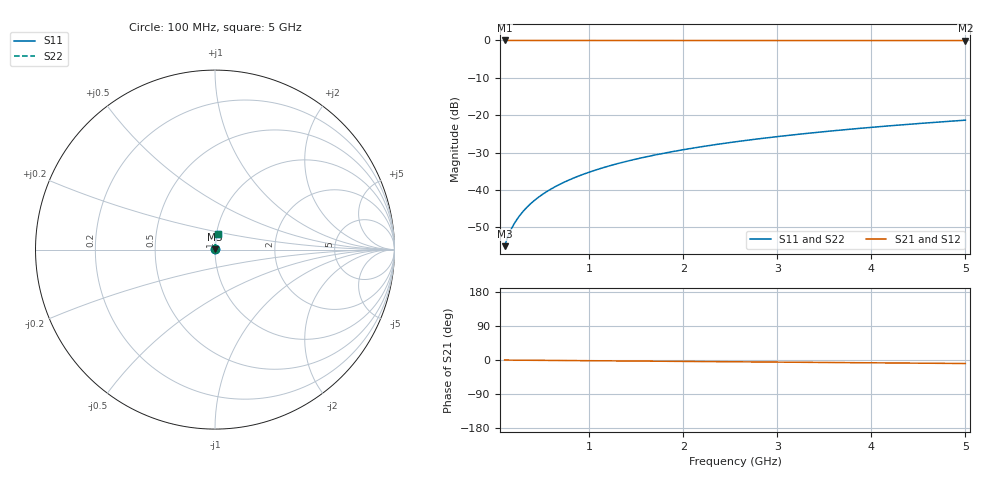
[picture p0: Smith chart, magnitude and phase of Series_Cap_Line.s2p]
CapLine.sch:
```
<Qucs Schematic 24.2.1>
<Properties>
  <View=273,26,718,272,3.49663,0,0>
  <Grid=10,10,1>
  <DataSet=CapLine.dat>
  <DataDisplay=CapLine.dpl>
  <OpenDisplay=0>
  <Script=L1.m>
  <RunScript=0>
  <showFrame=0>
  <FrameText0=Title>
  <FrameText1=Drawn By:>
  <FrameText2=Date:>
  <FrameText3=Revision:>
</Properties>
<Symbol>
  <Line -20 -20 10 0 #000080 2 1>
  <.PortSym -20 -20 1 0>
  <Rectangle -10 -30 20 20 #000000 1 1 #ffaa00 1 1>
  <.ID -10 -66 Line>
  <.PortSym 20 -20 2 180>
  <Line 10 -20 10 0 #000080 2 1>
</Symbol>
<Components>
  <Port P1 1 340 150 -23 12 0 0 "1" 1 "analog" 0 "v" 0 "" 0>
  <Port P2 1 540 150 4 -48 0 2 "2" 1 "analog" 0 "v" 0 "" 0>
  <GND * 1 430 180 0 0 0 0>
  <SPfile X1 1 430 150 -26 -56 0 0 "./EM/Refinement/Series_Cap_Line.s2p" 1 "rectangular" 0 "linear" 0 "open" 0 "2" 0>
</Components>
<Wires>
  <460 150 540 150 "" 0 0 0 "">
  <340 150 400 150 "" 0 0 0 "">
</Wires>
<Diagrams>
</Diagrams>
<Paintings>
</Paintings>
```
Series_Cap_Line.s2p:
! Sonnet Data File
! From: sonnet Version : 18.53-Lite
! From Emgraph Data:
! Data File Written: 04/08/2024 17:23:37
!< HDATE 04/08/2024 17:23:19
!< MDATE 04/08/2024 17:23:19
# GHZ S MA R 50.00000
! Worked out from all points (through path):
!   246 points, 100 MHz to 5 GHz, reference 50 ohm
!   highest |S21| = 0.00 dB at 100 MHz (marker M1); lowest = 0.0 dB at 5 GHz (marker M2)
!   group delay of S21, straight-line fit = 5.14 ps
!   lowest |S11| = -55.1 dB at 100 MHz (marker M3), VSWR 1.00, Z = 50 + j0.177 ohm
!   |S11| at or under -10 dB: start of sweep to end of sweep
!   |S22| runs from -55.1 to -21.3 dB; largest |S21 - S12| = 5.2e-14
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0.1  0.001768 88.3  0.9999 -0.2  0.9999 -0.2  0.001768 88.3
0.14  0.002458 88.3  0.9999 -0.3  0.9999 -0.3  0.002458 88.3
0.18  0.003148 88.3  0.9999 -0.3  0.9999 -0.3  0.003148 88.3
0.32  0.005564 88.2  0.9999 -0.6  0.9999 -0.6  0.005563 88.1
0.5  0.008669 88.0  0.9999 -0.9  0.9999 -0.9  0.008669 87.9
0.76  0.01316 87.6  0.9998 -1.4  0.9998 -1.4  0.01315 87.5
1.08  0.01868 87.1  0.9997 -2.0  0.9997 -2.0  0.01867 87.1
1.48  0.02557 86.6  0.9995 -2.7  0.9995 -2.7  0.02557 86.5
2.56  0.04416 85.0  0.9987 -4.7  0.9987 -4.7  0.04416 84.9
3.64  0.06264 82.9  0.9976 -6.7  0.9976 -6.7  0.06263 82.7
5  0.08579 80.6  0.9958 -9.3  0.9958 -9.3  0.08578 80.4
